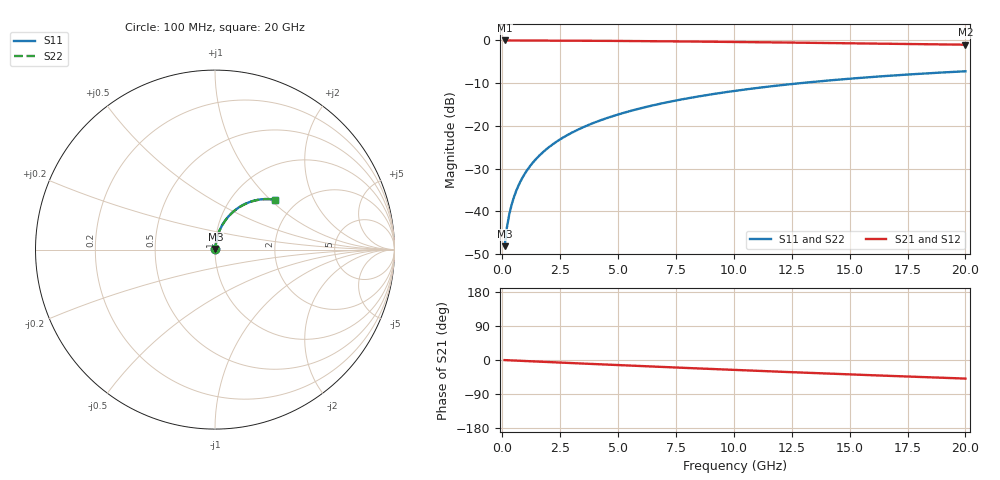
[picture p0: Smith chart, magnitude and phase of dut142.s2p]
! Touchstone file exported from HFSS 2026.1.0
!  File:  C:/ffzhzh/LocalFiles/Ansys_Project_Files/temp_train_BSMRDL_142_1782986435_45328.aedt
!  Generated:  06:02:14 PM Jul  2, 2026
!  Design:  BSMRDL
!  Project:  temp_train_BSMRDL_142_1782986435_45328
! Variables:
!  h_bsmrdl = 4.52um
!  h_ox = 20um
!  h_rdl = 5um
!  h_sub = 80um
!  h_tmrdl = 5um
!  h_tsv = 80um
!  h_via = 3um
!  l_bsmrdl = 730.24um
!  l_sub = 1130.24um
!  l_tmrdl = 200um
!  m_sub = 200um
!  pitch = 57.15um
!  r_tsv = 6um
!  s_tmrdl = 10um
!  w_bsmrdl = 24.99um
!  w_sub = 500um
!  w_tmrdl = 12um
!  x_tsv_center1 = 206um
!  x_tsv_center2 = 961.23um
!  x_tsv_center3 = 1173.23um
!  x_tsv_center4 = 1928.46um
!  x_tsv_center5 = 2140.46um
!  x_tsv_center6 = 2895.69um
# GHz S MA R 50.000000
! Terminal data exported
! Port[1] = BSM_RDL1_1_T1
! Port[2] = BSM_RDL1_1_T2
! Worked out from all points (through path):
!   200 points, 100 MHz to 20 GHz, reference 50 ohm
!   highest |S21| = -0.02 dB at 100 MHz (marker M1); lowest = -1.0 dB at 20 GHz (marker M2)
!   group delay of S21, straight-line fit = 6.82 ps
!   lowest |S11| = -48.1 dB at 100 MHz (marker M3), VSWR 1.01, Z = 50.2 + j0.305 ohm
!   |S11| at or under -10 dB: start of sweep to 12.88 GHz
!   |S22| runs from -48.1 to -7.2 dB; largest |S21 - S12| = 1.3e-14
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0.1  0.003928 50.5  0.9975 -0.3  0.9975 -0.3  0.003928 50.5
! Gamma 0 0 0 0
! Port Impedance 50 0 50 0
0.2  0.006518 65.4  0.9973 -0.6  0.9973 -0.6  0.006518 65.4
0.3  0.009204 71.4  0.9972 -0.8  0.9972 -0.8  0.009204 71.4
0.4  0.01191 74.8  0.997 -1.1  0.997 -1.1  0.01191 74.8
0.5  0.01463 76.9  0.9969 -1.4  0.9969 -1.4  0.01463 76.9
0.7  0.02011 79.3  0.9967 -1.9  0.9967 -1.9  0.02011 79.3
0.8  0.02287 80.0  0.9966 -2.2  0.9966 -2.2  0.02287 80.0
1  0.0284 80.8  0.9964 -2.7  0.9964 -2.7  0.0284 80.8
1.2  0.03394 81.2  0.9961 -3.3  0.9961 -3.3  0.03394 81.1
1.4  0.03948 81.3  0.9958 -3.8  0.9958 -3.8  0.03948 81.2
1.7  0.04777 81.1  0.9953 -4.6  0.9953 -4.6  0.04777 81.1
2  0.05604 80.7  0.9947 -5.4  0.9947 -5.4  0.05604 80.7
2.7  0.07516 79.5  0.993 -7.3  0.993 -7.3  0.07516 79.5
3.5  0.09668 77.7  0.9905 -9.5  0.9905 -9.5  0.09668 77.7
4.2  0.1152 76.0  0.988 -11.3  0.988 -11.3  0.1152 76.0
5  0.136 74.1  0.9848 -13.4  0.9848 -13.4  0.136 74.1
6.8  0.1811 69.7  0.9764 -18.1  0.9764 -18.1  0.1811 69.7
8.3  0.2171 66.1  0.9683 -21.9  0.9683 -21.9  0.2171 66.0
10.1  0.258 61.8  0.9576 -26.3  0.9576 -26.3  0.258 61.7
13.4  0.3264 54.1  0.9357 -34.3  0.9357 -34.3  0.3264 54.0
16.7  0.3855 46.7  0.9127 -41.8  0.9127 -41.8  0.3855 46.6
20  0.4353 39.7  0.89 -49.0  0.89 -49.0  0.4353 39.6
